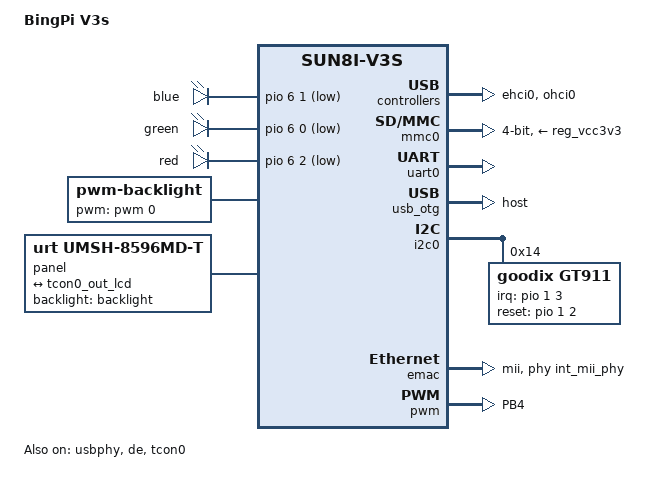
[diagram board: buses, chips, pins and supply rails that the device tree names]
/dts-v1/;
#include "sun8i-v3s-linux.dtsi"
#include "sunxi-common-regulators.dtsi"

#include <dt-bindings/gpio/gpio.h>
#include <dt-bindings/interrupt-controller/irq.h>

/ {
	model = "BingPi V3s";
	compatible = "bingpi,bingpi-v3s", "allwinner,sun8i-v3s";

	aliases {
		serial0 = &uart0;
	};

	chosen {
		stdout-path = "serial0:115200n8";
	};

	leds {
		compatible = "gpio-leds";

		blue_led {
			label = "blue";
			gpios = <&pio 6 1 GPIO_ACTIVE_LOW>; /* PG1 */
		};

		green_led {
			label = "green";
			gpios = <&pio 6 0 GPIO_ACTIVE_LOW>; /* PG0 */
			default-state = "on";
		};

		red_led {
			label = "red";
			gpios = <&pio 6 2 GPIO_ACTIVE_LOW>; /* PG2 */
		};
	};

	backlight: backlight {
		compatible = "pwm-backlight";
		pwms = <&pwm 0 1000000 0>;
		brightness-levels = <0 30 40 50 60 70 100>;
		default-brightness-level = <6>;
	};

	panel: panel {
		compatible = "urt,umsh-8596md-t";
		backlight = <&backlight>;

		port {
			panel_input: endpoint {
				remote-endpoint = <&tcon0_out_lcd>;
			};
		};
	};
};

&ehci0 {
	status = "okay";
};

&ohci0 {
	status = "okay";
};

&mmc0 {
	broken-cd;
	bus-width = <4>;
	vmmc-supply = <&reg_vcc3v3>;
	status = "okay";
};

&uart0 {
	pinctrl-0 = <&uart0_pb_pins>;
	pinctrl-names = "default";
	status = "okay";
};

&usb_otg {
	dr_mode = "host";
	status = "okay";
};

&usbphy {
	usb0_id_det-gpios = <&pio 5 6 GPIO_ACTIVE_HIGH>;
	status = "okay";
};

&i2c0 {
	pinctrl-0 = <&i2c0_pins>;
	pinctrl-names = "default";
	status = "okay";

	gt911: touchscreen@14 {
		compatible = "goodix,gt911";
		reg = <0x14>;
		interrupt-parent = <&pio>;
		interrupts = <1 3 IRQ_TYPE_EDGE_FALLING>; /* PB3 */
		pinctrl-names = "default";
		irq-gpios = <&pio 1 3 GPIO_ACTIVE_HIGH>; /* PB3 */
		reset-gpios = <&pio 1 2 GPIO_ACTIVE_HIGH>; /* PB2 */
		/* touchscreen-swapped-x-y */
	};
};

&emac {
	/* V3s has its own EMAC variant (no RMII/RGMII, different syscon
	 * defaults); the shared dtsi carries the H3 compatible.
	 */
	compatible = "allwinner,sun8i-v3s-emac";
	phy-handle = <&int_mii_phy>;
	phy-mode = "mii";
	allwinner,leds-active-low;
	status = "okay";
};

&pio {
	pwm0_pins: pwm0-pins {
		pins = "PB4";
		function = "pwm0";
	};

	/* 18-bit RGB666 LCD, 800x480 panel on the PE port */
	lcd_rgb666_pins_a: lcd-rgb666-pins {
		pins = "PE0", "PE1", "PE2", "PE3", "PE4", "PE5",
		       "PE6", "PE7", "PE8", "PE9", "PE10", "PE11",
		       "PE12", "PE13", "PE14", "PE15", "PE16", "PE17",
		       "PE18", "PE19", "PE23", "PE24";
		function = "lcd";
	};
};

&de {
	status = "okay";
};

&pwm {
	pinctrl-names = "default";
	pinctrl-0 = <&pwm0_pins>;
	status = "okay";
};

&tcon0 {
	pinctrl-names = "default";
	pinctrl-0 = <&lcd_rgb666_pins_a>;
	status = "okay";
};

&tcon0_out {
	tcon0_out_lcd: endpoint@0 {
		reg = <0>;
		remote-endpoint = <&panel_input>;
	};
};
